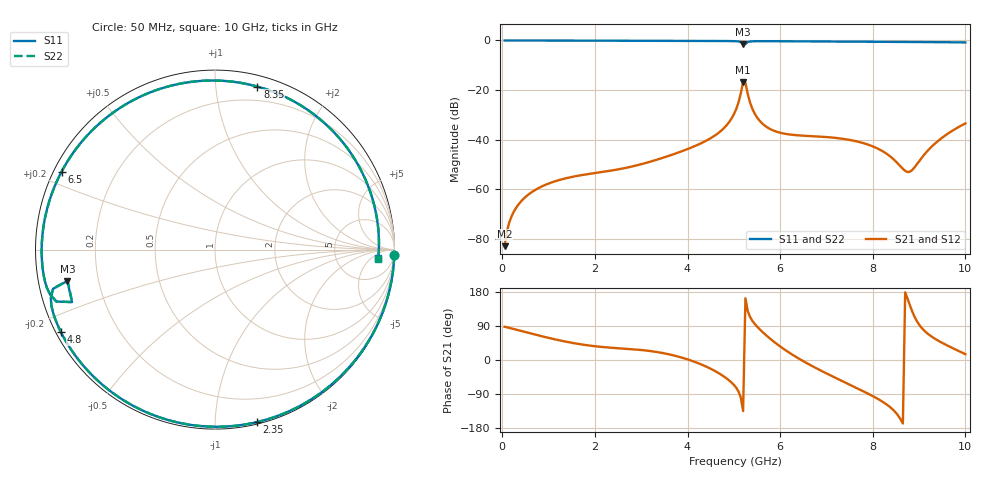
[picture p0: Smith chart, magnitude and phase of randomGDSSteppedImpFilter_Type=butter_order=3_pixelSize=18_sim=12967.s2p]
! freq	dB(S11)	phase(S11)	dB(S12)	phase(S12)
!  dB(S21)	phase(S21)	dB(S22)	phase(S22)
!S-par simulation data
#  GHz  S  DB  R 50
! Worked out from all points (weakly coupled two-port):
!   200 points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, 50 MHz to 10 GHz, reference 50 ohm
!   highest |S21| = -16.77 dB at 5.2 GHz (marker M1); lowest = -83.0 dB at 50 MHz (marker M2)
!   lowest |S11| = -1.5 dB at 5.2 GHz (marker M3), VSWR 11.55, Z = 4.38 - j5.22 ohm
!   |S11| at or under -10 dB: nowhere
!   |S22| runs from -1.5 to 0.0 dB; largest |S21 - S12| = 0
!   S11 on the Smith chart (normalised r, x): 50 MHz: 1, -67; 2.35 GHz: 0.01, -1.27; 4.8 GHz: 0.01, -0.25; 6.5 GHz: 0.02, +0.24; 8.35 GHz: 0.08, +1.29; 10 GHz: 16, -9
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0.05  -0.00 -1.7  -82.98 87.7  -82.98 87.7  -0.00 -1.7
0.25  -0.01 -8.4  -69.02 81.6  -69.02 81.6  -0.01 -8.4
0.55  -0.02 -18.4  -62.36 72.0  -62.36 72.0  -0.02 -18.4
1.05  -0.04 -34.9  -57.36 56.9  -57.36 56.9  -0.04 -34.9
1.75  -0.07 -57.5  -54.21 40.3  -54.21 40.3  -0.07 -57.5
2.35  -0.10 -76.4  -52.50 32.4  -52.50 32.4  -0.10 -76.4
3.4  -0.14 -108.6  -47.74 19.8  -47.74 19.8  -0.14 -108.6
4.3  -0.19 -135.9  -41.41 -11.9  -41.41 -11.9  -0.19 -136.0
4.8  -0.23 -151.8  -35.09 -44.8  -35.09 -44.8  -0.23 -151.8
5.05  -0.32 -161.0  -27.74 -73.0  -27.74 -73.0  -0.32 -161.1
5.2  -1.51 -168.0  -16.77 -134.7  -16.77 -134.7  -1.53 -168.1
5.25  -1.42 -159.8  -17.05 162.8  -17.05 162.8  -1.44 -159.8
5.4  -0.35 -167.2  -27.59 103.4  -27.59 103.4  -0.35 -167.2
5.65  -0.30 -176.7  -34.09 70.4  -34.09 70.4  -0.30 -176.8
6  -0.32 171.0  -37.23 35.8  -37.23 35.8  -0.32 170.9
6.5  -0.37 153.1  -38.41 -3.1  -38.41 -3.1  -0.37 152.9
6.7  -0.39 145.6  -38.62 -16.5  -38.62 -16.5  -0.38 145.5
7.6  -0.48 109.2  -40.49 -70.8  -40.49 -70.8  -0.48 109.0
8.35  -0.55 75.4  -46.39 -122.0  -46.39 -122.0  -0.55 75.2
8.8  -0.60 54.1  -52.95 145.1  -52.95 145.1  -0.60 53.8
9.35  -0.67 27.6  -41.47 55.6  -41.47 55.6  -0.67 27.4
10  -0.81 -3.0  -33.46 15.4  -33.46 15.4  -0.81 -3.3
